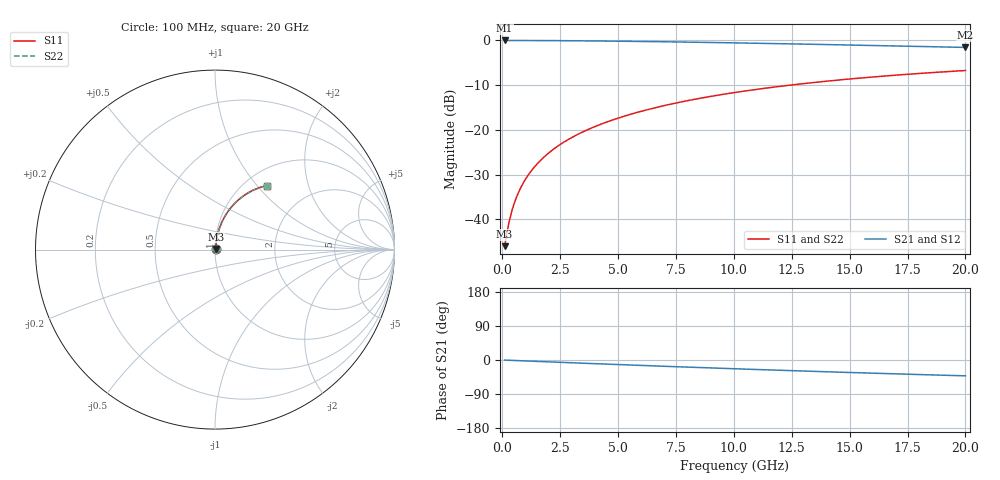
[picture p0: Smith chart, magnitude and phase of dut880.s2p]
! Touchstone file exported from HFSS 2024.1.0
!  File:  C:/UserFiles/LocalFiles/RDL_TSV_Batchsim/temp_RDL_top_880_1779856768.aedt
!  Generated:  12:41:43 PM May 27, 2026
!  Design:  RDL_top
!  Project:  temp_RDL_top_880_1779856768
!  Setup:  Setup1
!  Solution:  Sweep
! Variables:
!  dtsv = 10.80580581um
!  hbump = 3um
!  htsv = 77.26um
!  ldown = 100um
!  lrdl = 566.89um
!  p = 40
!  p1 = 43.4um
!  rhole = 1um
!  t = 450um
!  tdown = 3.915915916um
!  trdl = 4.41um
!  wdown = 15.38538539um
!  wrdl = 11.13um
# GHz S MA R 50.000000
! Terminal data exported
! Port[1] = Box2_T1
! Port[2] = Box2_T2
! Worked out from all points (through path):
!   200 points, 100 MHz to 20 GHz, reference 50 ohm
!   highest |S21| = -0.04 dB at 100 MHz (marker M1); lowest = -1.6 dB at 20 GHz (marker M2)
!   group delay of S21, straight-line fit = 5.8 ps
!   lowest |S11| = -46.0 dB at 100 MHz (marker M3), VSWR 1.01, Z = 50.4 + j0.286 ohm
!   |S11| at or under -10 dB: start of sweep to 12.46 GHz
!   |S22| runs from -46.0 to -6.8 dB; largest |S21 - S12| = 1.8e-14
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0.1  0.005008 34.5  0.9959 -0.3  0.9959 -0.3  0.005008 34.5
! Gamma 0 0 0 0
! Port Impedance 50 0 50 0
0.2  0.007047 53.3  0.9958 -0.5  0.9958 -0.5  0.007047 53.3
0.3  0.009478 62.7  0.9957 -0.8  0.9957 -0.8  0.009478 62.7
0.4  0.01204 68.1  0.9956 -1.0  0.9956 -1.0  0.01204 68.1
0.5  0.01466 71.5  0.9954 -1.2  0.9954 -1.2  0.01466 71.5
0.6  0.01731 73.9  0.9953 -1.5  0.9953 -1.5  0.01731 73.9
0.8  0.02264 76.8  0.995 -2.0  0.995 -2.0  0.02264 76.8
1.1  0.03069 79.1  0.9945 -2.7  0.9945 -2.7  0.03069 79.1
1.5  0.04149 80.4  0.9936 -3.7  0.9936 -3.7  0.04149 80.4
1.8  0.0496 80.8  0.9928 -4.4  0.9928 -4.4  0.0496 80.8
2.1  0.05771 80.9  0.9919 -5.2  0.9919 -5.2  0.05771 80.9
2.7  0.07389 80.6  0.9898 -6.6  0.9898 -6.6  0.07389 80.6
3.5  0.09534 79.7  0.9862 -8.5  0.9862 -8.5  0.09534 79.7
4.2  0.1139 78.7  0.9824 -10.2  0.9824 -10.2  0.1139 78.7
5  0.135 77.4  0.9775 -12.0  0.9775 -12.0  0.135 77.4
5.9  0.1584 75.9  0.9713 -14.1  0.9713 -14.1  0.1584 75.9
6.8  0.1815 74.3  0.9645 -16.1  0.9645 -16.1  0.1815 74.3
8.3  0.219 71.6  0.952 -19.4  0.952 -19.4  0.219 71.6
10.1  0.2624 68.3  0.9354 -23.3  0.9354 -23.3  0.2625 68.3
13.4  0.3365 62.2  0.9024 -29.9  0.9024 -29.9  0.3365 62.2
16.7  0.4023 56.4  0.8675 -36.1  0.8675 -36.1  0.4024 56.4
20  0.4595 51.0  0.8325 -41.8  0.8325 -41.8  0.4596 51.0
